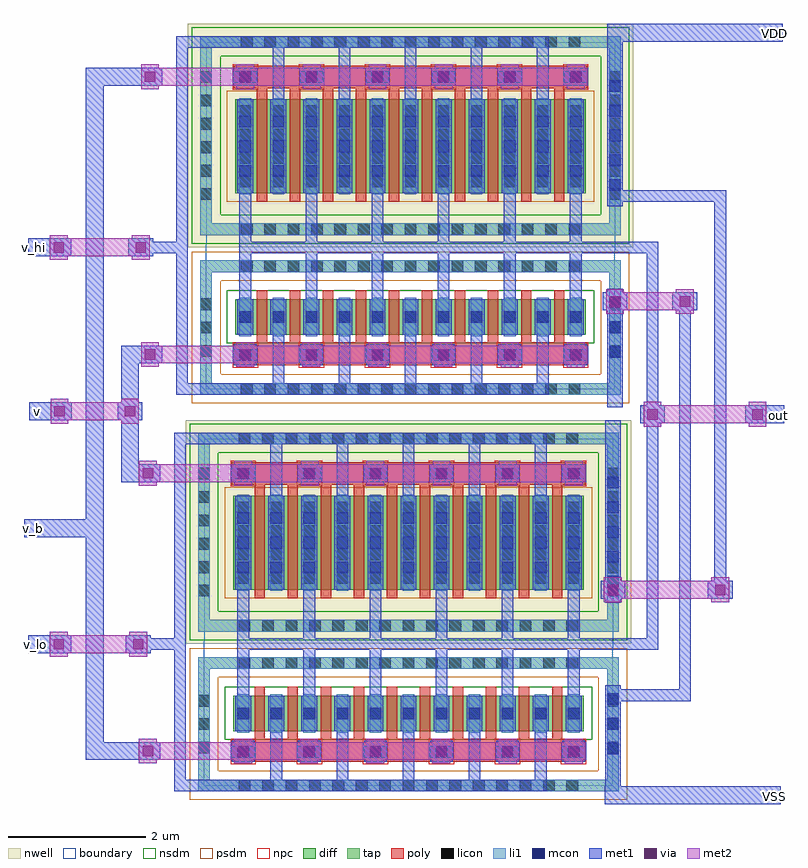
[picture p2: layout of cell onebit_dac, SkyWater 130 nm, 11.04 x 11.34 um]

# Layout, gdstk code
from math import pi, radians
import gdstk
lib = gdstk.Library(unit=1e-6, precision=1e-09)
def R(c, l, rs):  # rectangles x0, y0, x1, y1
    for r in rs: c.add(gdstk.rectangle(r[:2], r[2:], *l))
def A(c, l, x, y, w, h, nx, ny, dx, dy):  # array of equal rectangles
    R(c, l, [(x+i*dx, y+j*dy, x+i*dx+w, y+j*dy+h) for i in range(nx) for j in range(ny)])
nwell = (64, 20)
diff = (65, 20)
tap = (65, 44)
poly = (66, 20)
licon = (66, 44)
li1 = (67, 20)
mcon = (67, 44)
met1 = (68, 20)
via = (68, 44)
met2 = (69, 20)
nsdm = (93, 44)
psdm = (94, 20)
npc = (95, 20)
boundary = (235, 4)

sky130_fd_pr__pfet_01v8_ = lib.new_cell('sky130_fd_pr__pfet_01v8_UNG2NQ')
R(sky130_fd_pr__pfet_01v8_, nwell, [(-3.23,-1.78,3.24,1.47)])
R(sky130_fd_pr__pfet_01v8_, diff, [(-2.54,-0.68,2.55,0.68)])
R(sky130_fd_pr__pfet_01v8_, tap, [(-3.05,-1.6,3.06,-1.43), (-3.05,-1.43,-2.88,1.12), (2.89,-1.43,3.06,1.12), (-3.05,1.12,3.06,1.29)])
A(sky130_fd_pr__pfet_01v8_, poly, -2.23, -0.84, 0.15, 1.65, 10, 1, 0.48, 0)
R(sky130_fd_pr__pfet_01v8_, poly, [(-2.56,-1.17,2.57,-0.84)])
A(sky130_fd_pr__pfet_01v8_, licon, -2.46, -1.6, 0.17, 0.17, 15, 2, 0.34, 2.72)
A(sky130_fd_pr__pfet_01v8_, licon, -3.05, -1.09, 0.17, 0.17, 1, 6, 0, 0.34)
A(sky130_fd_pr__pfet_01v8_, licon, -2.48, -1.09, 0.17, 0.17, 6, 1, 0.96, 0)
A(sky130_fd_pr__pfet_01v8_, licon, 2.89, -1.09, 0.17, 0.17, 1, 6, 0, 0.34)
A(sky130_fd_pr__pfet_01v8_, licon, -2.48, -0.595, 0.17, 0.17, 11, 4, 0.48, 0.34)
A(sky130_fd_pr__pfet_01v8_, li1, -2.56, -1.09, 0.33, 0.17, 6, 1, 0.96, 0)
A(sky130_fd_pr__pfet_01v8_, li1, -2.48, -0.7, 0.17, 1.4, 11, 1, 0.48, 0)
R(sky130_fd_pr__pfet_01v8_, li1, [(-3.05,-1.6,3.06,-1.43), (-3.05,-1.43,-2.88,1.12), (2.89,-1.43,3.06,1.12), (-3.05,1.12,3.06,1.29)])
A(sky130_fd_pr__pfet_01v8_, mcon, -2.48, -1.09, 0.17, 0.17, 6, 1, 0.96, 0)
A(sky130_fd_pr__pfet_01v8_, mcon, -2.48, -0.445, 0.17, 0.17, 11, 3, 0.48, 0.36)
A(sky130_fd_pr__pfet_01v8_, met1, -2.56, -1.13, 0.33, 0.25, 6, 1, 0.96, 0)
A(sky130_fd_pr__pfet_01v8_, met1, -2.51, -0.68, 0.23, 1.36, 11, 1, 0.48, 0)
R(sky130_fd_pr__pfet_01v8_, nsdm, [(-3.175,-1.725,3.185,-1.305), (-3.175,-1.305,-2.755,0.995), (2.765,-1.305,3.185,0.995), (-3.175,0.995,3.185,1.415)])
R(sky130_fd_pr__pfet_01v8_, psdm, [(-2.665,-0.805,2.675,0.805)])
A(sky130_fd_pr__pfet_01v8_, npc, -2.58, -1.19, 0.37, 0.37, 6, 1, 0.96, 0)
R(sky130_fd_pr__pfet_01v8_, boundary, [(-2.97,-1.51,2.97,1.51)])

sky130_fd_pr__nfet_01v8_ = lib.new_cell('sky130_fd_pr__nfet_01v8_6J4AMR')
R(sky130_fd_pr__nfet_01v8_, diff, [(-2.54,-0.26,2.55,0.26)])
R(sky130_fd_pr__nfet_01v8_, tap, [(-3.05,-1.13,3.06,-0.96), (-3.05,-0.96,-2.88,0.65), (2.89,-0.96,3.06,0.65), (-3.05,0.65,3.06,0.82)])
A(sky130_fd_pr__nfet_01v8_, poly, -2.23, -0.37, 0.15, 0.76, 10, 1, 0.48, 0)
R(sky130_fd_pr__nfet_01v8_, poly, [(-2.56,-0.7,2.57,-0.37)])
A(sky130_fd_pr__nfet_01v8_, licon, -2.46, -1.13, 0.17, 0.17, 15, 2, 0.34, 1.78)
A(sky130_fd_pr__nfet_01v8_, licon, -2.48, -0.64, 0.17, 0.17, 6, 1, 0.96, 0)
A(sky130_fd_pr__nfet_01v8_, licon, -3.05, -0.58, 0.17, 0.17, 1, 3, 0, 0.34)
A(sky130_fd_pr__nfet_01v8_, licon, 2.89, -0.58, 0.17, 0.17, 1, 3, 0, 0.34)
A(sky130_fd_pr__nfet_01v8_, licon, -2.48, -0.085, 0.17, 0.17, 11, 1, 0.48, 0)
A(sky130_fd_pr__nfet_01v8_, li1, -2.56, -0.64, 0.33, 0.17, 6, 1, 0.96, 0)
A(sky130_fd_pr__nfet_01v8_, li1, -2.48, -0.28, 0.17, 0.56, 11, 1, 0.48, 0)
R(sky130_fd_pr__nfet_01v8_, li1, [(-3.05,-1.13,3.06,-0.96), (-3.05,-0.96,-2.88,0.65), (2.89,-0.96,3.06,0.65), (-3.05,0.65,3.06,0.82)])
A(sky130_fd_pr__nfet_01v8_, mcon, -2.48, -0.64, 0.17, 0.17, 6, 1, 0.96, 0)
A(sky130_fd_pr__nfet_01v8_, mcon, -2.48, -0.085, 0.17, 0.17, 11, 1, 0.48, 0)
A(sky130_fd_pr__nfet_01v8_, met1, -2.56, -0.7, 0.33, 0.3, 6, 1, 0.96, 0)
A(sky130_fd_pr__nfet_01v8_, met1, -2.51, -0.26, 0.23, 0.52, 11, 1, 0.48, 0)
R(sky130_fd_pr__nfet_01v8_, nsdm, [(-2.665,-0.385,2.675,0.385)])
R(sky130_fd_pr__nfet_01v8_, psdm, [(-3.175,-1.255,3.185,-0.835), (-3.175,-0.835,-2.755,0.525), (2.765,-0.835,3.185,0.525), (-3.175,0.525,3.185,0.945)])
A(sky130_fd_pr__nfet_01v8_, npc, -2.58, -0.74, 0.37, 0.37, 6, 1, 0.96, 0)
R(sky130_fd_pr__nfet_01v8_, boundary, [(-2.97,-1.05,2.97,1.05)])

transmission_gate = lib.new_cell('transmission_gate')
R(transmission_gate, li1, [(5.855,0.405,6.025,1.405), (5.855,2.725,6.025,4.655)])
A(transmission_gate, mcon, 5.855, 0.46, 0.17, 0.17, 1, 3, 0, 0.36)
A(transmission_gate, mcon, 5.855, 2.885, 0.17, 0.17, 1, 5, 0, 0.36)
A(transmission_gate, met1, 0.965, 0.095, 0.17, 0.805, 5, 2, 0.96, 4.065)
A(transmission_gate, met1, 1.345, 0.38, 0.36, 0.26, 3, 1, 0.96, 0)
A(transmission_gate, met1, 0.485, 1.265, 0.17, 0.715, 6, 1, 0.96, 0)
A(transmission_gate, met1, 0.485, 2.15, 0.17, 0.89, 6, 1, 0.96, 0)
A(transmission_gate, met1, 2.31, 4.415, 0.36, 0.26, 4, 1, 0.96, 0)
R(transmission_gate, met1, [(5.825,-0.255,6.055,1.465), (-0.435,-0.075,4.975,0.095), (-0.435,0.095,-0.265,1.98), (4.23,0.375,4.59,0.635), (5.19,0.375,5.55,0.635), (-1.08,0.38,-0.635,0.64), (0.39,0.38,0.75,0.64), (-1.08,1.98,-0.265,2.15), (0.485,1.98,6.415,2.15), (-0.435,2.15,-0.265,4.965), (5.825,2.665,6.055,5.315), (-1.08,4.415,-0.635,4.675), (0.39,4.415,0.75,4.675), (1.355,4.415,1.715,4.675), (-0.435,4.965,4.975,5.135)])
A(transmission_gate, via, 1.45, 0.435, 0.15, 0.15, 3, 1, 0.96, 0)
A(transmission_gate, via, 2.415, 4.47, 0.15, 0.15, 4, 1, 0.96, 0)
R(transmission_gate, via, [(4.335,0.43,4.485,0.58), (5.295,0.43,5.445,0.58), (-0.89,0.435,-0.74,0.585), (0.495,0.435,0.645,0.585), (-0.89,4.47,-0.74,4.62), (0.495,4.47,0.645,4.62), (1.46,4.47,1.61,4.62)])
A(transmission_gate, met2, 1.395, 0.33, 0.26, 0.05, 3, 2, 0.96, 0.31)
A(transmission_gate, met2, 2.36, 4.365, 0.26, 0.05, 4, 2, 0.96, 0.31)
R(transmission_gate, met2, [(4.28,0.325,4.54,0.38), (5.24,0.325,5.5,0.38), (-0.945,0.33,-0.685,0.38), (0.44,0.33,0.7,0.38), (-0.945,0.38,5.535,0.64), (-0.945,0.64,-0.685,0.69), (0.44,0.64,0.7,0.69), (4.28,0.64,4.54,0.685), (5.24,0.64,5.5,0.685), (-0.945,4.365,-0.685,4.415), (0.44,4.365,0.7,4.415), (1.405,4.365,1.665,4.415), (-0.945,4.415,5.535,4.675), (-0.945,4.675,-0.685,4.725), (0.44,4.675,0.7,4.725), (1.405,4.675,1.665,4.725)])
transmission_gate.add(gdstk.Reference(sky130_fd_pr__pfet_01v8_, (2.975,3.535), rotation=pi))
transmission_gate.add(gdstk.Reference(sky130_fd_pr__nfet_01v8_, (2.965,1.055)))
transmission_gate.add(gdstk.Label('en_b', (-1.055,4.545), layer=68, texttype=5))
transmission_gate.add(gdstk.Label('in', (-1.06,2.065), layer=68, texttype=5))
transmission_gate.add(gdstk.Label('en', (-1.06,0.51), layer=68, texttype=5))
transmission_gate.add(gdstk.Label('out', (6.395,2.06), layer=68, texttype=5))
transmission_gate.add(gdstk.Label('VDD', (5.94,5.29), layer=68, texttype=5))
transmission_gate.add(gdstk.Label('VSS', (5.94,-0.24), layer=68, texttype=5))

onebit_dac = lib.new_cell('onebit_dac')
R(onebit_dac, met1, [(6.87,-5.77,9.425,-5.51), (-0.665,-5.125,-0.03,-4.865), (-0.665,-4.865,-0.405,-1.89), (6.905,-4.27,8.12,-4.1), (7.95,-4.1,8.12,1.405), (-1.5,-3.575,-0.88,-3.315), (-0.085,-3.575,0.275,-3.315), (7.415,-3.525,7.65,-3.355), (7.48,-3.355,7.65,-0.235), (6.81,-2.785,7.17,-2.525), (8.37,-2.785,8.73,-2.525), (8.465,-2.525,8.635,2.98), (-1.565,-1.89,-0.405,-1.63), (-0.665,-1.63,-0.405,4.67), (-0.155,-1.09,0.105,-0.19), (7.385,-0.235,7.745,0.025), (8.91,-0.235,9.475,0.025), (-1.49,-0.19,-0.87,0.07), (-0.205,-0.19,0.155,0.07), (7.48,0.025,7.65,2.235), (-0.155,0.07,0.105,0.895), (6.84,1.405,7.2,1.665), (7.855,1.405,8.215,1.665), (-1.5,2.19,-0.88,2.45), (-0.05,2.19,0.31,2.45), (7.325,2.235,7.65,2.405), (6.935,2.98,8.635,3.15), (-0.665,4.67,0,4.93), (7.135,5.31,9.46,5.57)])
R(onebit_dac, via, [(-1.135,-3.52,-0.985,-3.37), (0.02,-3.52,0.17,-3.37), (6.915,-2.73,7.065,-2.58), (8.475,-2.73,8.625,-2.58), (7.49,-0.18,7.64,-0.03), (9.015,-0.18,9.165,-0.03), (-1.125,-0.135,-0.975,0.015), (-0.1,-0.135,0.05,0.015), (6.945,1.46,7.095,1.61), (7.96,1.46,8.11,1.61), (-1.135,2.245,-0.985,2.395), (0.055,2.245,0.205,2.395)])
R(onebit_dac, met2, [(-1.19,-3.625,-0.93,-3.575), (-0.035,-3.625,0.225,-3.575), (-1.19,-3.575,0.225,-3.315), (-1.19,-3.315,-0.93,-3.265), (-0.035,-3.315,0.225,-3.265), (6.86,-2.835,7.12,-2.785), (8.42,-2.835,8.68,-2.785), (6.86,-2.785,8.68,-2.525), (6.86,-2.525,7.12,-2.475), (8.42,-2.525,8.68,-2.475), (7.435,-0.285,7.695,-0.235), (8.96,-0.285,9.22,-0.235), (-1.18,-0.24,-0.92,-0.19), (-0.155,-0.24,0.105,-0.19), (7.435,-0.235,9.22,0.025), (-1.18,-0.19,0.105,0.07), (7.435,0.025,7.695,0.075), (8.96,0.025,9.22,0.075), (-1.18,0.07,-0.92,0.12), (-0.155,0.07,0.105,0.12), (6.89,1.355,7.15,1.405), (7.905,1.355,8.165,1.405), (6.89,1.405,8.165,1.665), (6.89,1.665,7.15,1.715), (7.905,1.665,8.165,1.715), (-1.19,2.14,-0.93,2.19), (0,2.14,0.26,2.19), (-1.19,2.19,0.26,2.45), (-1.19,2.45,-0.93,2.5), (0,2.45,0.26,2.5)])
onebit_dac.add(gdstk.Reference(transmission_gate, (1.05,-5.505)))
onebit_dac.add(gdstk.Reference(transmission_gate, (1.08,0.255)))
onebit_dac.add(gdstk.Label('v_hi', (-1.425,2.32), layer=68, texttype=5))
onebit_dac.add(gdstk.Label('v_lo', (-1.4,-3.45), layer=68, texttype=5))
onebit_dac.add(gdstk.Label('v', (-1.375,-0.07), layer=68, texttype=5))
onebit_dac.add(gdstk.Label('v_b', (-1.43,-1.76), layer=68, texttype=5))
onebit_dac.add(gdstk.Label('out', (9.395,-0.12), layer=68, texttype=5))
onebit_dac.add(gdstk.Label('VDD', (9.34,5.43), layer=68, texttype=5))
onebit_dac.add(gdstk.Label('VSS', (9.335,-5.655), layer=68, texttype=5))

lib.write_gds('onebit_dac.gds')
